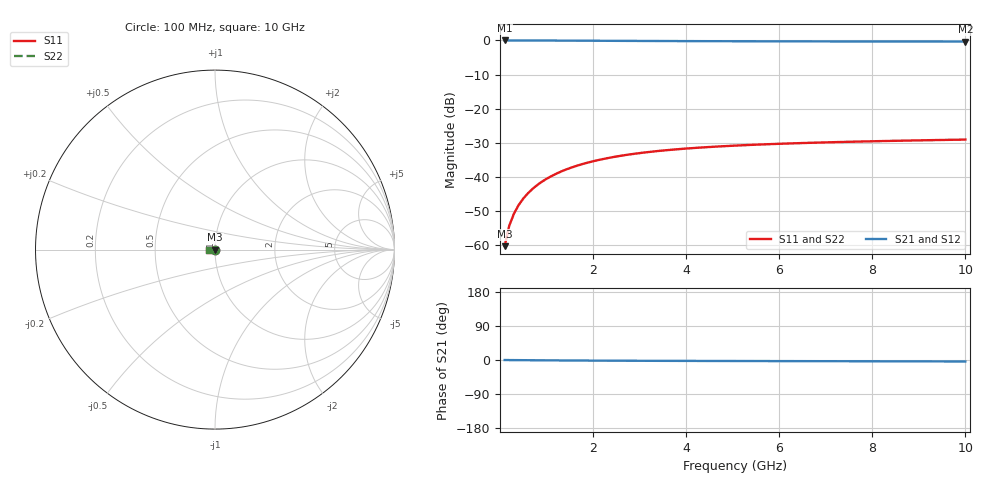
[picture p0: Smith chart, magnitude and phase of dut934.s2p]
! Touchstone file exported from HFSS 2024.1.0
!  File:  C:/UserFiles/LocalFiles/RDL_TSV_Batchsim/temp_TSV1_934_1779947440.aedt
!  Generated:  01:55:46 PM May 28, 2026
!  Design:  TSV1
!  Project:  temp_TSV1_934_1779947440
!  Setup:  Setup1
!  Solution:  Sweep
! Variables:
!  dtsv = 11.14um
!  hbump = 3um
!  htsv = 57.46um
!  lrdl = 252.1521522um
!  p = 40
!  p1 = 50.42um
!  t = 500um
!  trdl = 3um
!  wrdl = 24.89489489um
# GHz S MA R 50.000000
! Terminal data exported
! Port[1] = TSV22_T1
! Port[2] = TSV22_T2
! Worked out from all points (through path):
!   100 points, 100 MHz to 10 GHz, reference 50 ohm
!   highest |S21| = 0.00 dB at 100 MHz (marker M1); lowest = -0.3 dB at 10 GHz (marker M2)
!   lowest |S11| = -60.2 dB at 100 MHz (marker M3), VSWR 1.00, Z = 50 - j0.0974 ohm
!   |S11| at or under -10 dB: start of sweep to end of sweep
!   |S22| runs from -60.2 to -29.0 dB; largest |S21 - S12| = 3.9e-15
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0.1  0.0009763 -86.2  0.9999 -0.1  0.9999 -0.1  0.0009763 -86.2
! Gamma 0 0 0 0
! Port Impedance 50 0 50 0
0.2  0.001947 -90.6  0.9998 -0.2  0.9998 -0.2  0.001947 -90.6
0.3  0.002918 -93.3  0.9996 -0.3  0.9996 -0.3  0.002918 -93.3
0.4  0.003885 -95.6  0.9994 -0.4  0.9994 -0.4  0.003885 -95.6
0.5  0.004845 -97.7  0.9991 -0.5  0.9991 -0.5  0.004845 -97.7
0.6  0.005794 -99.6  0.9987 -0.6  0.9987 -0.6  0.005794 -99.6
0.7  0.006729 -101.6  0.9983 -0.7  0.9983 -0.7  0.00673 -101.6
0.8  0.00765 -103.4  0.9979 -0.7  0.9979 -0.7  0.00765 -103.4
0.9  0.008552 -105.3  0.9974 -0.8  0.9974 -0.8  0.008552 -105.3
1.1  0.0103 -108.8  0.9963 -1.0  0.9963 -1.0  0.0103 -108.8
1.4  0.01276 -113.9  0.9945 -1.2  0.9945 -1.2  0.01276 -113.9
1.6  0.01429 -117.1  0.9932 -1.4  0.9932 -1.4  0.01429 -117.1
1.8  0.01572 -120.1  0.9918 -1.5  0.9918 -1.5  0.01572 -120.1
2.1  0.01769 -124.4  0.9897 -1.7  0.9897 -1.7  0.01769 -124.4
2.5  0.02001 -129.7  0.9869 -1.9  0.9869 -1.9  0.02001 -129.7
2.9  0.02201 -134.5  0.9842 -2.0  0.9842 -2.0  0.02201 -134.5
3.4  0.02411 -139.9  0.9812 -2.2  0.9812 -2.2  0.02411 -139.9
4.2  0.02677 -147.3  0.9771 -2.5  0.9771 -2.5  0.02677 -147.3
5.1  0.02902 -154.3  0.9734 -2.7  0.9734 -2.7  0.02902 -154.3
6.7  0.03182 -164.3  0.9687 -3.1  0.9687 -3.1  0.03182 -164.3
8.4  0.0339 -172.6  0.9654 -3.5  0.9654 -3.5  0.0339 -172.6
10  0.03542 -179.2  0.9633 -3.9  0.9633 -3.9  0.03542 -179.2
